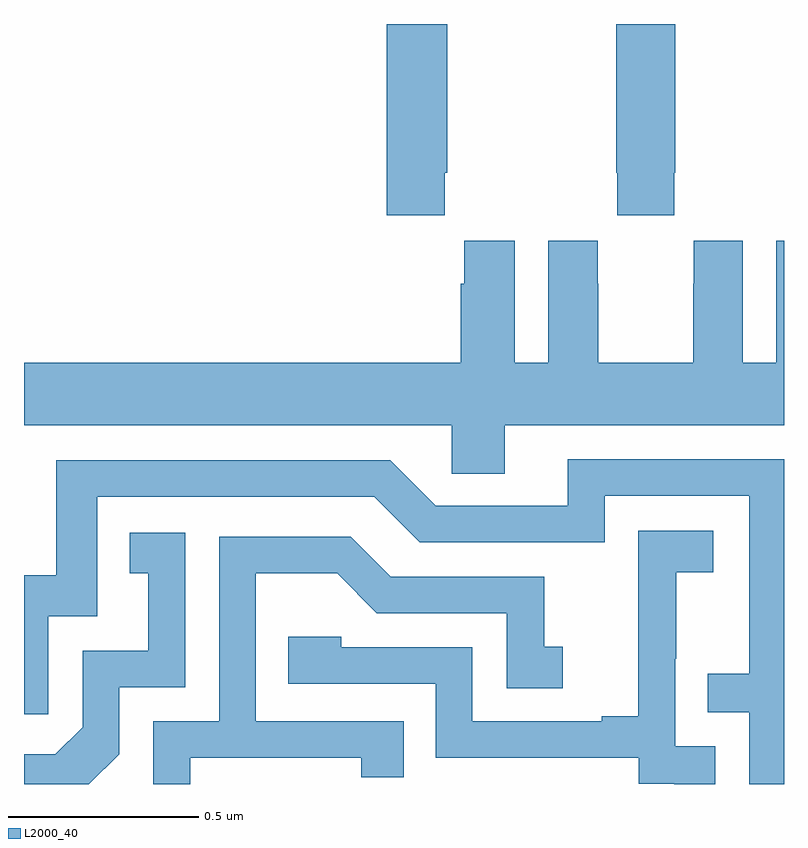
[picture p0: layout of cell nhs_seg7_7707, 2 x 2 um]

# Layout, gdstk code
import gdstk
lib = gdstk.Library(unit=1e-6, precision=1e-09)
def P(c, l, *ps):  # polygons
    for p in ps: c.add(gdstk.Polygon(p, *l))
L2000_40 = (2000, 40)

nhs_seg7_7707 = lib.new_cell('nhs_seg7_7707')
P(nhs_seg7_7707, L2000_40, [(216.107,1006.609),(216.114,1006.609),(216.114,1007),(215.954,1007),(215.954,1006.497),(216.107,1006.497)],
  [(216.711,1006.609),(216.714,1006.609),(216.714,1007),(216.559,1007),(216.559,1006.609),(216.561,1006.609),(216.561,1006.497),(216.711,1006.497)],
  [(216.265,1005.944),(217,1005.944),(217,1006.429),(216.98,1006.429),(216.98,1006.108),(216.892,1006.108),(216.892,1006.429),(216.762,1006.429),(216.762,1006.316),(216.761,1006.316),(216.761,1006.108),(216.511,1006.108),(216.511,1006.316),(216.51,1006.316),(216.51,1006.429),(216.38,1006.429),(216.38,1006.108),(216.292,1006.108),(216.292,1006.429),(216.158,1006.429),(216.158,1006.316),(216.149,1006.316),(216.149,1006.108),(215,1006.108),(215,1005.944),(216.126,1005.944),(216.126,1005.817),(216.265,1005.817)],
  [(217,1005.855),(216.431,1005.855),(216.431,1005.732),(216.084,1005.732),(215.964,1005.852),(215.085,1005.852),(215.085,1005.55),(215,1005.55),(215,1005.183),(215.064,1005.183),(215.064,1005.441),(215.193,1005.441),(215.193,1005.756),(215.922,1005.756),(216.042,1005.636),(216.528,1005.636),(216.528,1005.759),(216.909,1005.759),(216.909,1005.29),(216.799,1005.29),(216.799,1005.189),(216.909,1005.189),(216.909,1005),(217,1005)],
  [(216.819,1005.099),(216.714,1005.099),(216.714,1005.329),(216.716,1005.329),(216.716,1005.557),(216.814,1005.557),(216.814,1005.667),(216.616,1005.667),(216.616,1005.461),(216.617,1005.461),(216.617,1005.178),(216.521,1005.178),(216.521,1005.165),(216.18,1005.165),(216.18,1005.36),(215.835,1005.36),(215.835,1005.387),(215.695,1005.387),(215.695,1005.264),(216.084,1005.264),(216.084,1005.069),(216.618,1005.069),(216.618,1005.001),(216.711,1005.001),(216.711,1005),(216.819,1005)],
  [(215.25,1005.078),(215.25,1005.255),(215.424,1005.255),(215.424,1005.661),(215.278,1005.661),(215.278,1005.555),(215.327,1005.555),(215.327,1005.351),(215.154,1005.351),(215.154,1005.15),(215.082,1005.078),(215,1005.078),(215,1005),(215.171,1005)],
  [(215.437,1005.069),(215.888,1005.069),(215.888,1005.018),(215.999,1005.018),(215.999,1005.165),(215.61,1005.165),(215.61,1005.554),(215.824,1005.554),(215.928,1005.45),(216.27,1005.45),(216.27,1005.252),(216.418,1005.252),(216.418,1005.361),(216.369,1005.361),(216.369,1005.546),(215.965,1005.546),(215.86,1005.651),(215.514,1005.651),(215.514,1005.165),(215.34,1005.165),(215.34,1005),(215.437,1005)])

lib.write_gds('nhs_seg7_7707.gds')
